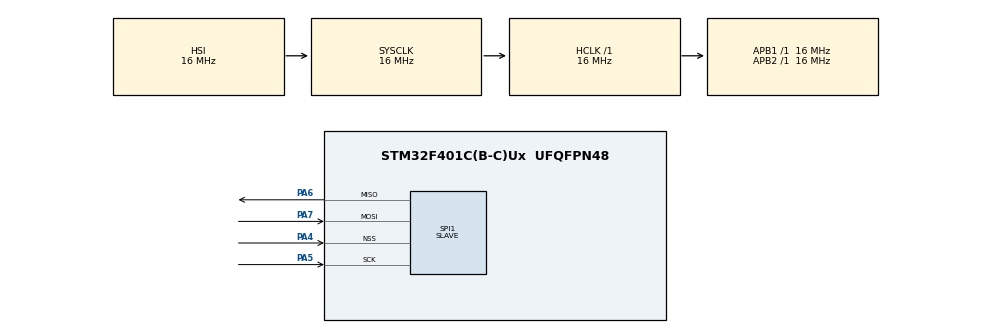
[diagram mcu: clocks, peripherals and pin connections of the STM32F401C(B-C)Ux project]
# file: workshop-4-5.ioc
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Mcu.Family=STM32F4
Mcu.Name=STM32F401C(B-C)Ux
Mcu.Package=UFQFPN48
NVIC.PriorityGroup=NVIC_PRIORITYGROUP_4
PA4.Mode=NSS_Signal_Hard_Input
PA4.Signal=SPI1_NSS
PA5.Mode=Full_Duplex_Slave
PA5.Signal=SPI1_SCK
PA6.Mode=Full_Duplex_Slave
PA6.Signal=SPI1_MISO
PA7.Mode=Full_Duplex_Slave
PA7.Signal=SPI1_MOSI
ProjectManager.HeapSize=0x200
ProjectManager.StackSize=0x400
ProjectManager.TargetToolchain=STM32CubeIDE
RCC.AHBFreq_Value=16000000
RCC.APB1Freq_Value=16000000
RCC.APB2Freq_Value=16000000
RCC.CortexFreq_Value=16000000
RCC.HSE_VALUE=25000000
RCC.HSI_VALUE=16000000
RCC.LSE_VALUE=32768
RCC.SYSCLKFreq_VALUE=16000000
RCC.VCOOutputFreq_Value=192000000
SPI1.Direction=SPI_DIRECTION_2LINES
SPI1.Mode=SPI_MODE_SLAVE
SPI1.VirtualNSS=VM_NSSHARD
SPI1.VirtualType=VM_SLAVE
board=custom

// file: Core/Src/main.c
/* USER CODE BEGIN Header */
/**
  ******************************************************************************
  * @file           : main.c
  * @brief          : Main program body
  ******************************************************************************
  * @attention
  *
  * Copyright (c) 2026 STMicroelectronics.
  * All rights reserved.
  *
  * This software is licensed under terms that can be found in the LICENSE file
  * in the root directory of this software component.
  * If no LICENSE file comes with this software, it is provided AS-IS.
  *
  ******************************************************************************
  */
/* USER CODE END Header */
#include "main.h"

/* USER CODE BEGIN Includes */
#include <string.h> // Додано для роботи з memset та strcpy
/* USER CODE END Includes */

/* USER CODE BEGIN PD */
#define BUFFER_SIZE 32 // Розмір буфера для обміну даними
/* USER CODE END PD */

SPI_HandleTypeDef hspi1;

/* USER CODE BEGIN PV */
uint8_t tx_buffer[BUFFER_SIZE];
uint8_t rx_buffer[BUFFER_SIZE];
volatile uint8_t spi_transfer_complete = 0; // Прапорець завершення прийому/передачі
/* USER CODE END PV */

void SystemClock_Config(void);
static void MX_GPIO_Init(void);
static void MX_SPI1_Init(void);

int main(void)
{

  /* MCU Configuration--------------------------------------------------------*/

  /* Reset of all peripherals, Initializes the Flash interface and the Systick. */
  HAL_Init();

  /* Configure the system clock */
  SystemClock_Config();

  /* Initialize all configured peripherals */
  MX_GPIO_Init();
  MX_SPI1_Init();
  /* USER CODE BEGIN 2 */

  // Очищаємо буфери
  memset(tx_buffer, 0, BUFFER_SIZE);
  memset(rx_buffer, 0, BUFFER_SIZE);

  // Записуємо повідомлення, яке STM32 відправить до ESP32
  strcpy((char*)tx_buffer, "Hello, ESP!");

  // Ставимо SPI в режим очікування: як тільки ESP32 почне передачу, STM32 апаратно відповість
  HAL_SPI_TransmitReceive_IT(&hspi1, tx_buffer, rx_buffer, BUFFER_SIZE);

  /* USER CODE END 2 */

  /* Infinite loop */
  while (1)
  {

    /* USER CODE BEGIN 3 */

    // Перевіряємо, чи переривання повідомило про успішне завершення транзакції
    if (spi_transfer_complete == 1)
    {
      // 1. Скидаємо прапорець
      spi_transfer_complete = 0;

      // 2. Очищаємо приймальний буфер від старих даних ESP32
      memset(rx_buffer, 0, BUFFER_SIZE);

      // 3. Знову "зводимо" SPI для прийому наступної команди від Master
      HAL_SPI_TransmitReceive_IT(&hspi1, tx_buffer, rx_buffer, BUFFER_SIZE);
    }

  }
  /* USER CODE END 3 */
}

void SystemClock_Config(void)
{
  RCC_OscInitTypeDef RCC_OscInitStruct = {0};
  RCC_ClkInitTypeDef RCC_ClkInitStruct = {0};

  /** Configure the main internal regulator output voltage
  */
  __HAL_RCC_PWR_CLK_ENABLE();
  __HAL_PWR_VOLTAGESCALING_CONFIG(PWR_REGULATOR_VOLTAGE_SCALE2);

  /** Initializes the RCC Oscillators according to the specified parameters
  * in the RCC_OscInitTypeDef structure.
  */
  RCC_OscInitStruct.OscillatorType = RCC_OSCILLATORTYPE_HSI;
  RCC_OscInitStruct.HSIState = RCC_HSI_ON;
  RCC_OscInitStruct.HSICalibrationValue = RCC_HSICALIBRATION_DEFAULT;
  RCC_OscInitStruct.PLL.PLLState = RCC_PLL_NONE;
  if (HAL_RCC_OscConfig(&RCC_OscInitStruct) != HAL_OK)
  {
    Error_Handler();
  }

  /** Initializes the CPU, AHB and APB buses clocks
  */
  RCC_ClkInitStruct.ClockType = RCC_CLOCKTYPE_HCLK|RCC_CLOCKTYPE_SYSCLK
                              |RCC_CLOCKTYPE_PCLK1|RCC_CLOCKTYPE_PCLK2;
  RCC_ClkInitStruct.SYSCLKSource = RCC_SYSCLKSOURCE_HSI;
  RCC_ClkInitStruct.AHBCLKDivider = RCC_SYSCLK_DIV1;
  RCC_ClkInitStruct.APB1CLKDivider = RCC_HCLK_DIV1;
  RCC_ClkInitStruct.APB2CLKDivider = RCC_HCLK_DIV1;

  if (HAL_RCC_ClockConfig(&RCC_ClkInitStruct, FLASH_LATENCY_0) != HAL_OK)
  {
    Error_Handler();
  }
}

static void MX_SPI1_Init(void)
{

  /* SPI1 parameter configuration*/
  hspi1.Instance = SPI1;
  hspi1.Init.Mode = SPI_MODE_SLAVE;
  hspi1.Init.Direction = SPI_DIRECTION_2LINES;
  hspi1.Init.DataSize = SPI_DATASIZE_8BIT;
  hspi1.Init.CLKPolarity = SPI_POLARITY_LOW;
  hspi1.Init.CLKPhase = SPI_PHASE_1EDGE;
  hspi1.Init.NSS = SPI_NSS_HARD_INPUT;
  hspi1.Init.FirstBit = SPI_FIRSTBIT_MSB;
  hspi1.Init.TIMode = SPI_TIMODE_DISABLE;
  hspi1.Init.CRCCalculation = SPI_CRCCALCULATION_DISABLE;
  hspi1.Init.CRCPolynomial = 10;
  if (HAL_SPI_Init(&hspi1) != HAL_OK)
  {
    Error_Handler();
  }

}

static void MX_GPIO_Init(void)
{

  /* GPIO Ports Clock Enable */
  __HAL_RCC_GPIOA_CLK_ENABLE();

}

/* USER CODE BEGIN 4 */

// Колбек, який викликається бібліотекою HAL після успішного прийому/передачі
void HAL_SPI_TxRxCpltCallback(SPI_HandleTypeDef *hspi)
{
  if (hspi->Instance == SPI1)
  {
    // Сигналізуємо головному циклу, що дані оброблено
    spi_transfer_complete = 1;
  }
}

/* USER CODE END 4 */

void Error_Handler(void)
{
  __disable_irq();
  while (1)
  {
  }
}
